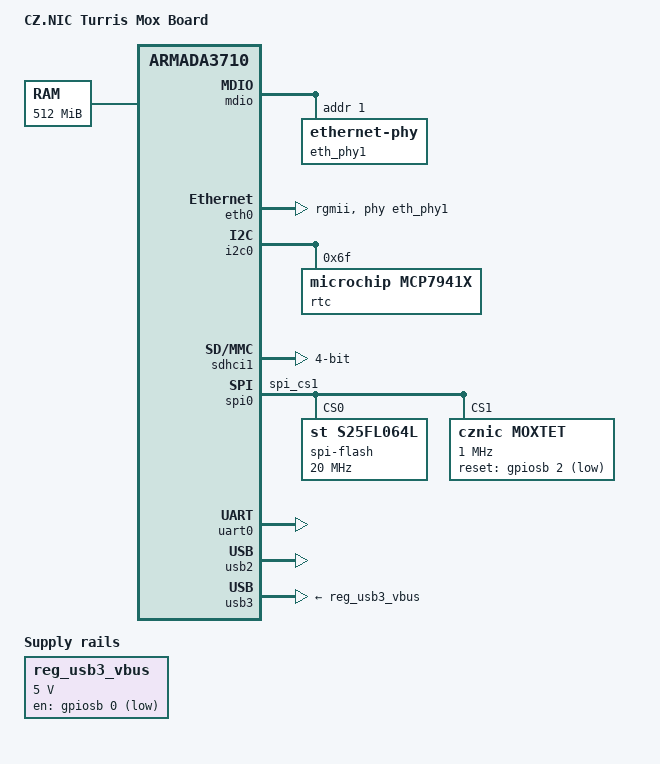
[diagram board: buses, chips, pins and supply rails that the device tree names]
// SPDX-License-Identifier: GPL-2.0+ or X11
/*
 * Device Tree file for CZ.NIC Turris Mox Board
 * 2018 by Marek Behun <marek.behun@nic.cz>
 *
 * Based on armada-3720-espressobin.dts by:
 *   Gregory CLEMENT <gregory.clement@free-electrons.com>
 *   Konstantin Porotchkin <kostap@marvell.com>
 */

/dts-v1/;

#include <dt-bindings/gpio/gpio.h>
#include "armada-372x.dtsi"

/ {
	model = "CZ.NIC Turris Mox Board";
	compatible = "cznic,turris-mox", "marvell,armada3720",
		     "marvell,armada3710";

	chosen {
		stdout-path = "serial0:115200n8";
	};

	aliases {
		ethernet0 = &eth0;
		ethernet1 = &eth1;
		i2c0 = &i2c0;
		spi0 = &spi0;
	};

	memory {
		device_type = "memory";
		reg = <0x00000000 0x00000000 0x00000000 0x20000000>;
	};

	reg_usb3_vbus: usb3_vbus@0 {
		compatible = "regulator-fixed";
		regulator-name = "usb3-vbus";
		regulator-min-microvolt = <5000000>;
		regulator-max-microvolt = <5000000>;
		startup-delay-us = <2000000>;
		shutdown-delay-us = <1000000>;
		gpio = <&gpiosb 0 GPIO_ACTIVE_HIGH>;
		regulator-boot-on;
	};

	mdio {
		#address-cells = <1>;
		#size-cells = <0>;

		eth_phy1: ethernet-phy@1 {
			reg = <1>;
		};
	};
};

&comphy {
	max-lanes = <3>;
	phy0 {
		phy-type = <PHY_TYPE_SGMII1>;
		phy-speed = <PHY_SPEED_3_125G>;
	};

	phy1 {
		phy-type = <PHY_TYPE_PEX0>;
		phy-speed = <PHY_SPEED_5G>;
	};

	phy2 {
		phy-type = <PHY_TYPE_USB3_HOST0>;
		phy-speed = <PHY_SPEED_5G>;
	};
};

&eth0 {
	status = "okay";
	pinctrl-names = "default";
	pinctrl-0 = <&rgmii_pins>, <&smi_pins>;
	phy-mode = "rgmii";
	phy = <&eth_phy1>;
};

&i2c0 {
	pinctrl-names = "default";
	pinctrl-0 = <&i2c1_pins>;
	status = "okay";

	rtc@6f {
		compatible = "microchip,mcp7941x";
		reg = <0x6f>;
	};
};

&sdhci1 {
	bus-width = <4>;
	status = "okay";
};

&pinctrl_nb {
	spi_cs1_pins: spi-cs1-pins {
		groups = "spi_cs1";
		function = "spi";
	};
};

&spi0 {
	status = "okay";
	pinctrl-names = "default";
	pinctrl-0 = <&spi_cs1_pins>;
	assigned-clocks = <&nb_periph_clk 7>;
	assigned-clock-parents = <&tbg 1>;
	assigned-clock-rates = <20000000>;

	spi-flash@0 {
		#address-cells = <1>;
		#size-cells = <1>;
		compatible = "st,s25fl064l", "jedec,spi-nor";
		reg = <0>;
		spi-max-frequency = <20000000>;
		m25p,fast-read;
	};

	moxtet@1 {
		#address-cells = <1>;
		#size-cells = <0>;
		compatible = "cznic,moxtet";
		reg = <1>;
		reset-gpios = <&gpiosb 2 GPIO_ACTIVE_LOW>;
		spi-max-frequency = <1000000>;
		spi-cpol;
		spi-cpha;
	};
};

&uart0 {
	pinctrl-names = "default";
	pinctrl-0 = <&uart1_pins>;
	status = "okay";
};

&usb2 {
	status = "okay";
};

&usb3 {
	vbus-supply = <&reg_usb3_vbus>;
	status = "okay";
};

&pcie0 {
	pinctrl-names = "default";
	pinctrl-0 = <&pcie_pins>;
	reset-gpio = <&gpiosb 3 GPIO_ACTIVE_HIGH>;
	status = "disabled";
};
